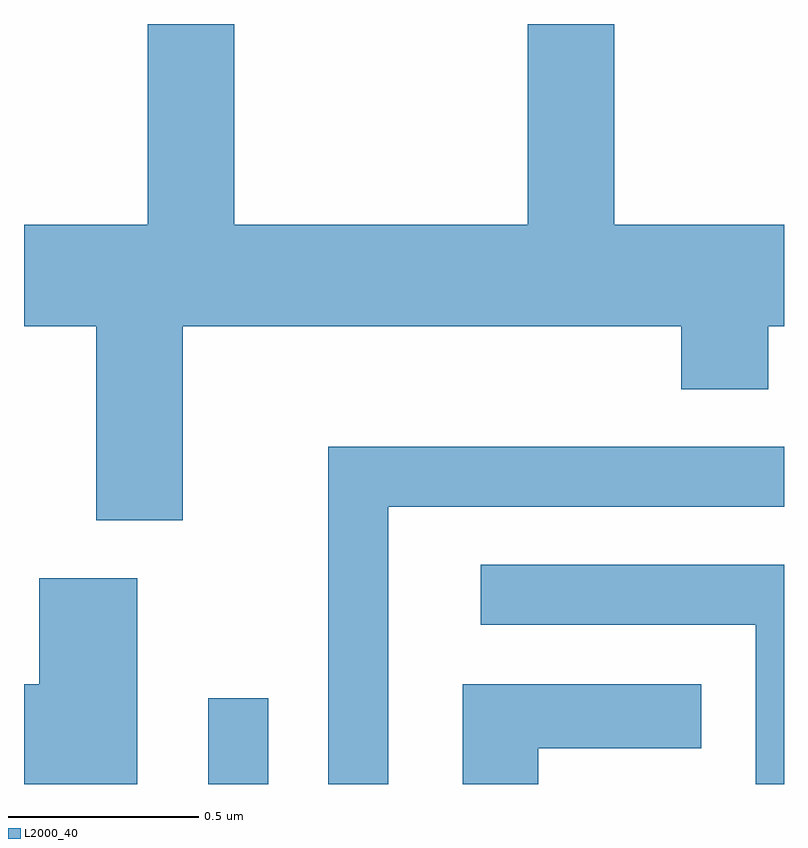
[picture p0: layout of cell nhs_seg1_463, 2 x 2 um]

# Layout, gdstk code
import gdstk
lib = gdstk.Library(unit=1e-6, precision=1e-09)
def R(c, l, rs):  # rectangles x0, y0, x1, y1
    for r in rs: c.add(gdstk.rectangle(r[:2], r[2:], *l))
def P(c, l, *ps):  # polygons
    for p in ps: c.add(gdstk.Polygon(p, *l))
L2000_40 = (2000, 40)

nhs_seg1_463 = lib.new_cell('nhs_seg1_463')
R(nhs_seg1_463, L2000_40, [(189.096,891.712,189.254,891.938)])
P(nhs_seg1_463, L2000_40, [(189.029,892.916),(190.341,892.916),(190.341,892.751),(190.569,892.751),(190.569,892.916),(190.611,892.916),(190.611,893.184),(190.164,893.184),(190.164,893.712),(189.936,893.712),(189.936,893.184),(189.164,893.184),(189.164,893.712),(188.936,893.712),(188.936,893.184),(188.611,893.184),(188.611,892.916),(188.801,892.916),(188.801,892.406),(189.029,892.406)],
  [(189.569,892.441),(190.611,892.441),(190.611,892.599),(189.411,892.599),(189.411,891.712),(189.569,891.712)],
  [(190.611,892.289),(189.813,892.289),(189.813,892.131),(190.536,892.131),(190.536,891.712),(190.611,891.712)],
  [(188.909,892.254),(188.651,892.254),(188.651,891.974),(188.611,891.974),(188.611,891.712),(188.909,891.712)],
  [(189.964,891.806),(190.393,891.806),(190.393,891.974),(189.766,891.974),(189.766,891.712),(189.964,891.712)])

lib.write_gds('nhs_seg1_463.gds')
